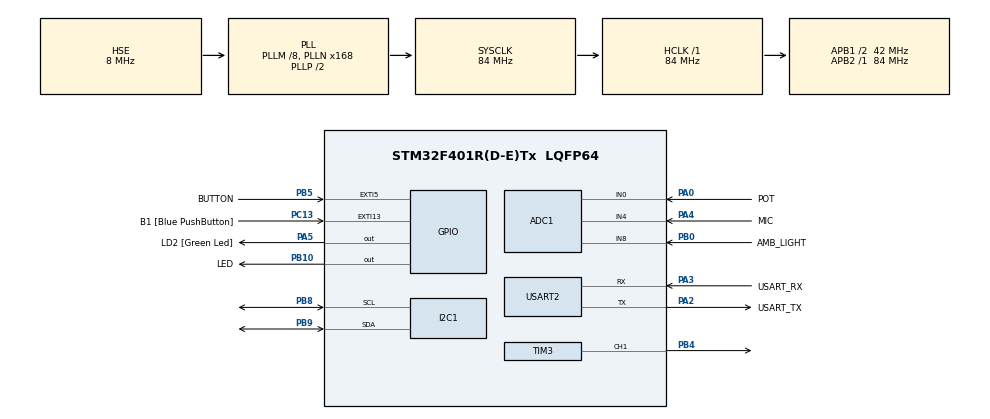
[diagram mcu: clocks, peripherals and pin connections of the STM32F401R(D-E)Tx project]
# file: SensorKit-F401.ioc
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ADC1.Channel-0\#ChannelRegularConversion=ADC_CHANNEL_0
ADC1.Channel-1\#ChannelRegularConversion=ADC_CHANNEL_4
ADC1.Channel-2\#ChannelRegularConversion=ADC_CHANNEL_8
ADC1.NbrOfConversion=3
ADC1.NbrOfConversionFlag=1
ADC1.Rank-0\#ChannelRegularConversion=1
ADC1.Rank-1\#ChannelRegularConversion=2
ADC1.Rank-2\#ChannelRegularConversion=3
ADC1.SamplingTime-0\#ChannelRegularConversion=ADC_SAMPLETIME_3CYCLES
ADC1.SamplingTime-1\#ChannelRegularConversion=ADC_SAMPLETIME_3CYCLES
ADC1.SamplingTime-2\#ChannelRegularConversion=ADC_SAMPLETIME_3CYCLES
ADC1.master=1
Dma.ADC1.0.Direction=DMA_PERIPH_TO_MEMORY
Dma.ADC1.0.FIFOMode=DMA_FIFOMODE_DISABLE
Dma.ADC1.0.Instance=DMA2_Stream0
Dma.ADC1.0.MemDataAlignment=DMA_MDATAALIGN_HALFWORD
Dma.ADC1.0.MemInc=DMA_MINC_ENABLE
Dma.ADC1.0.Mode=DMA_CIRCULAR
Dma.ADC1.0.PeriphDataAlignment=DMA_PDATAALIGN_HALFWORD
Dma.ADC1.0.PeriphInc=DMA_PINC_DISABLE
Dma.ADC1.0.Priority=DMA_PRIORITY_LOW
Dma.Request0=ADC1
Mcu.Family=STM32F4
Mcu.Name=STM32F401R(D-E)Tx
Mcu.Package=LQFP64
NVIC.DMA2_Stream0_IRQn=true\:0\:0\:false\:false\:true\:false\:true\:true
NVIC.PriorityGroup=NVIC_PRIORITYGROUP_0
PA0-WKUP.GPIO_Label=POT
PA0-WKUP.Signal=ADCx_IN0
PA13.GPIO_Label=TMS
PA13.Mode=Serial_Wire
PA13.Signal=SYS_JTMS-SWDIO
PA14.GPIO_Label=TCK
PA14.Mode=Serial_Wire
PA14.Signal=SYS_JTCK-SWCLK
PA2.GPIO_Label=USART_TX
PA2.GPIO_Mode=GPIO_MODE_AF_PP
PA2.GPIO_PuPd=GPIO_NOPULL
PA2.GPIO_Speed=GPIO_SPEED_FREQ_LOW
PA2.Mode=Asynchronous
PA2.Signal=USART2_TX
PA3.GPIO_Label=USART_RX
PA3.GPIO_Mode=GPIO_MODE_AF_PP
PA3.GPIO_PuPd=GPIO_NOPULL
PA3.GPIO_Speed=GPIO_SPEED_FREQ_LOW
PA3.Mode=Asynchronous
PA3.Signal=USART2_RX
PA4.GPIO_Label=MIC
PA4.Signal=ADCx_IN4
PA5.GPIO_Label=LD2 [Green Led]
PA5.GPIO_Mode=GPIO_MODE_OUTPUT_PP
PA5.GPIO_PuPd=GPIO_NOPULL
PA5.GPIO_Speed=GPIO_SPEED_FREQ_LOW
PA5.Signal=GPIO_Output
PB0.GPIO_Label=AMB_LIGHT
PB0.Signal=ADCx_IN8
PB10.GPIO_Label=LED
PB10.Signal=GPIO_Output
PB3.GPIO_Label=SWO
PB3.Signal=SYS_JTDO-SWO
PB4.Signal=S_TIM3_CH1
PB5.GPIO_Label=BUTTON
PB5.Signal=GPXTI5
PB8.Mode=I2C
PB8.Signal=I2C1_SCL
PB9.Mode=I2C
PB9.Signal=I2C1_SDA
PC13-ANTI_TAMP.GPIO_Label=B1 [Blue PushButton]
PC13-ANTI_TAMP.GPIO_ModeDefaultEXTI=GPIO_MODE_IT_FALLING
PC13-ANTI_TAMP.GPIO_PuPd=GPIO_NOPULL
PC13-ANTI_TAMP.Signal=GPXTI13
PC14-OSC32_IN.Mode=LSE-External-Oscillator
PC14-OSC32_IN.Signal=RCC_OSC32_IN
PC15-OSC32_OUT.Mode=LSE-External-Oscillator
PC15-OSC32_OUT.Signal=RCC_OSC32_OUT
PH0\ -\ OSC_IN.Mode=HSE-External-Clock-Source
PH0\ -\ OSC_IN.Signal=RCC_OSC_IN
PH1\ -\ OSC_OUT.Mode=HSE-External-Clock-Source
PH1\ -\ OSC_OUT.Signal=RCC_OSC_OUT
ProjectManager.HeapSize=0x200
ProjectManager.StackSize=0x400
ProjectManager.TargetToolchain=STM32CubeIDE
RCC.48MHZClocksFreq_Value=24000000
RCC.AHBFreq_Value=84000000
RCC.APB1CLKDivider=RCC_HCLK_DIV2
RCC.APB1Freq_Value=42000000
RCC.APB1TimFreq_Value=84000000
RCC.APB2Freq_Value=84000000
RCC.APB2TimFreq_Value=84000000
RCC.CortexFreq_Value=84000000
RCC.HCLKFreq_Value=84000000
RCC.HSE_VALUE=8000000
RCC.HSI_VALUE=16000000
RCC.PLLM=8
RCC.PLLN=168
RCC.PLLQ=7
RCC.PLLSourceVirtual=RCC_PLLSOURCE_HSE
RCC.SYSCLKFreq_VALUE=84000000
RCC.SYSCLKSource=RCC_SYSCLKSOURCE_PLLCLK
RCC.VCOOutputFreq_Value=168000000
SH.ADCx_IN0.0=ADC1_IN0,IN0
SH.ADCx_IN4.0=ADC1_IN4,IN4
SH.ADCx_IN8.0=ADC1_IN8,IN8
SH.S_TIM3_CH1.0=TIM3_CH1,PWM Generation1 CH1
TIM3.Channel-PWM\ Generation1\ CH1=TIM_CHANNEL_1
TIM3.Period=10
TIM3.Prescaler=2097
USART2.VirtualMode=VM_ASYNC
VP_TIM3_VS_ClockSourceINT.Mode=Internal
board=NUCLEO-F401RE

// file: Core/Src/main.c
/* USER CODE BEGIN Header */
/**
 ******************************************************************************
 * @file           : main.c
 * @brief          : Main program body
 ******************************************************************************
 * @attention
 *
 * Copyright (c) 2024 STMicroelectronics.
 * All rights reserved.
 *
 * This software is licensed under terms that can be found in the LICENSE file
 * in the root directory of this software component.
 * If no LICENSE file comes with this software, it is provided AS-IS.
 *
 ******************************************************************************
 */
/* USER CODE END Header */
#include "main.h"
#include "adc.h"
#include "dma.h"
#include "i2c.h"
#include "tim.h"
#include "usart.h"
#include "gpio.h"

/* USER CODE BEGIN Includes */
// https://github.com/libdriver/dht20/blob
#include "driver_dht20.h"

//https://github.com/STMicroelectronics/stm32-ssd1315
#include "ssd1315.h"
#include "fonts.h"
/* USER CODE END Includes */

/* USER CODE BEGIN PV */
uint32_t temp_raw=0;
float temperature=0;

uint32_t hum_raw=0;
uint8_t humidity=0;

uint32_t potValue=0;
uint16_t adcValues[3]={0};

SSD1315_Object_t ahogyszeretnemcsillagnelegyenott;
/* USER CODE END PV */

void SystemClock_Config(void);

/* USER CODE BEGIN 0 */
void makeSound(uint16_t tone, uint8_t volume, uint16_t duration) {

	htim3.Instance->ARR = tone;
	htim3.Instance->CCR1 = tone * (volume / 100.0);
	HAL_TIM_PWM_Start(&htim3, TIM_CHANNEL_1);
	HAL_Delay(duration);
//	htim3.Instance->CCR1 = 0;
	HAL_TIM_PWM_Stop(&htim3, TIM_CHANNEL_1);
}

void iicWriteData(uint8_t addr, uint8_t *buf, uint16_t len) {
	HAL_I2C_Master_Transmit(&hi2c1, addr, buf, len, 1);
}

void iicReadData(uint8_t addr, uint8_t *buf, uint16_t len) {
	HAL_I2C_Master_Receive(&hi2c1, addr, buf, len, 1);
}

/* USER CODE END 0 */

int main(void)
{
  /* USER CODE BEGIN 1 */
	dht20_handle_t hdth;
	hdth.delay_ms = &HAL_Delay;
	hdth.iic_read_cmd = &iicReadData;
	hdth.iic_write_cmd = &iicWriteData;

  /* USER CODE END 1 */

  /* MCU Configuration--------------------------------------------------------*/

  /* Reset of all peripherals, Initializes the Flash interface and the Systick. */
  HAL_Init();

  /* Configure the system clock */
  SystemClock_Config();

  /* Initialize all configured peripherals */
  MX_GPIO_Init();
  MX_DMA_Init();
  MX_USART2_UART_Init();
  MX_ADC1_Init();
  MX_TIM3_Init();
  MX_I2C1_Init();
  /* USER CODE BEGIN 2 */

	dht20_init(&hdth);
	//SSD1315_Unselect();
	//(SSD1315_Object_t *pObj, uint32_t ColorCoding, uint32_t Orientation)
	SSD1315_Init(&ahogyszeretnemcsillagnelegyenott,0,SSD1315_ORIENTATION_LANDSCAPE);
	//SSD1315_FillScreen(SSD1315_COLOR_BLACK );
	//SSD1315_WriteString(0, 0, "Font_7x10, red on black, lorem ipsum dolor sit amet", Font_7x10, SSD1315_COLOR_WHITE , SSD1315_COLOR_BLACK );
  /* USER CODE END 2 */

  /* Infinite loop */
  /* USER CODE BEGIN WHILE */
	while (1) {

		dht20_read_temperature(&hdth, &temp_raw, &temperature);
		dht20_read_humidity(&hdth, &hum_raw, &humidity);

		HAL_Delay(300);
		/*
		HAL_GPIO_TogglePin(LED_GPIO_Port, LED_Pin);
		HAL_Delay(100);
		HAL_ADC_Start_DMA(&hadc1, adcValues, 3);
		makeSound(540*(adcValues[1]/4096.0), 60, 100);
		 */

//	  if(HAL_GPIO_ReadPin(BUTTON_GPIO_Port, BUTTON_Pin)){
//		  HAL_GPIO_WritePin(LED_GPIO_Port, LED_Pin, SET);
//		  makeSound(10, 80, 300);
//	  }else{
//		  HAL_GPIO_TogglePin(LED_GPIO_Port, LED_Pin);
//		  dht20_read_temperature(&hdth, &temp_raw, &temperature);
//		  HAL_Delay(300);
//	  }

    /* USER CODE END WHILE */

	}
}

void SystemClock_Config(void)
{
  RCC_OscInitTypeDef RCC_OscInitStruct = {0};
  RCC_ClkInitTypeDef RCC_ClkInitStruct = {0};

  /** Configure the main internal regulator output voltage
  */
  __HAL_RCC_PWR_CLK_ENABLE();
  __HAL_PWR_VOLTAGESCALING_CONFIG(PWR_REGULATOR_VOLTAGE_SCALE2);

  /** Initializes the RCC Oscillators according to the specified parameters
  * in the RCC_OscInitTypeDef structure.
  */
  RCC_OscInitStruct.OscillatorType = RCC_OSCILLATORTYPE_HSE;
  RCC_OscInitStruct.HSEState = RCC_HSE_BYPASS;
  RCC_OscInitStruct.PLL.PLLState = RCC_PLL_ON;
  RCC_OscInitStruct.PLL.PLLSource = RCC_PLLSOURCE_HSE;
  RCC_OscInitStruct.PLL.PLLM = 8;
  RCC_OscInitStruct.PLL.PLLN = 168;
  RCC_OscInitStruct.PLL.PLLP = RCC_PLLP_DIV2;
  RCC_OscInitStruct.PLL.PLLQ = 7;
  if (HAL_RCC_OscConfig(&RCC_OscInitStruct) != HAL_OK)
  {
    Error_Handler();
  }

  /** Initializes the CPU, AHB and APB buses clocks
  */
  RCC_ClkInitStruct.ClockType = RCC_CLOCKTYPE_HCLK|RCC_CLOCKTYPE_SYSCLK
                              |RCC_CLOCKTYPE_PCLK1|RCC_CLOCKTYPE_PCLK2;
  RCC_ClkInitStruct.SYSCLKSource = RCC_SYSCLKSOURCE_PLLCLK;
  RCC_ClkInitStruct.AHBCLKDivider = RCC_SYSCLK_DIV1;
  RCC_ClkInitStruct.APB1CLKDivider = RCC_HCLK_DIV2;
  RCC_ClkInitStruct.APB2CLKDivider = RCC_HCLK_DIV1;

  if (HAL_RCC_ClockConfig(&RCC_ClkInitStruct, FLASH_LATENCY_2) != HAL_OK)
  {
    Error_Handler();
  }
}

void Error_Handler(void)
{
	__disable_irq();
	while (1) {
	}
}
